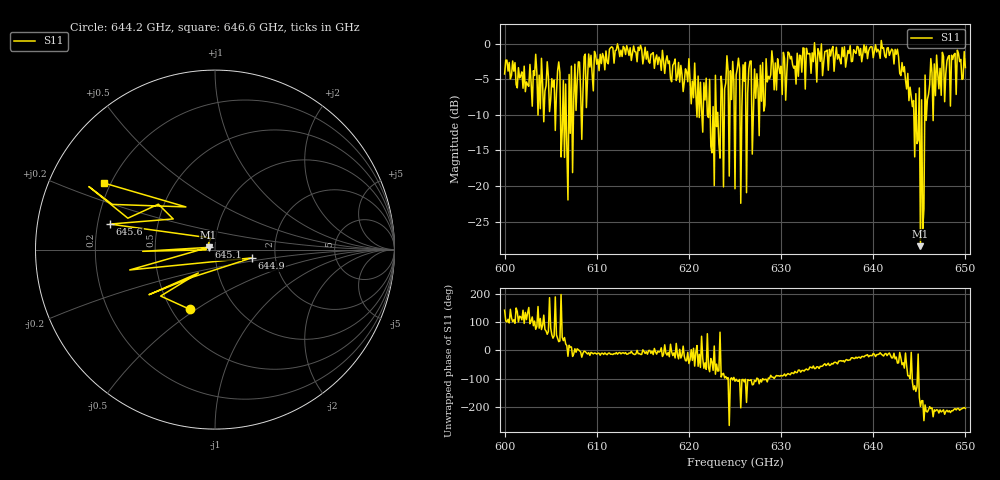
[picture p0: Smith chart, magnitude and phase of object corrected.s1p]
!Created with skrf (http://scikit-rf.org).
# GHz S MA R 50.0
!freq magS11 angS11
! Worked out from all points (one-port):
!   401 points, 600 GHz to 650 GHz, reference 50 ohm
!   lowest |S11| = -28.5 dB at 645.1 GHz (marker M1), VSWR 1.08, Z = 46.5 + j1.16 ohm
!   |S11| at or under -10 dB: 606.0625 GHz to 606.2901 GHz (227.6 MHz wide, 0.0375 % of centre); 606.687 GHz to 606.9598 GHz (272.8 MHz wide, 0.045 % of centre); 622 GHz to 622.1339 GHz (134 MHz wide, 0.0215 % of centre) (the widest 3 of 30)
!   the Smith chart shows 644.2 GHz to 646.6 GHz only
!   S11 on the Smith chart (normalised r, x): 644.2 GHz: 0.62, -0.47; 644.9 GHz: 1.51, -0.15; 645.1 GHz: 0.93, +0.02; 645.6 GHz: 0.25, +0.11; 646.6 GHz: 0.17, +0.27
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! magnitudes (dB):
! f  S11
! 600 GHz  -4.3
! 605.8 GHz  -3.8
! 606.2 GHz  -12.3
! 607.1 GHz  -12.6
! 607.9 GHz  -5.2
! 608.6 GHz  -1.8
! 609.2 GHz  -3.3
! 612.5 GHz  -1.8
! 618.8 GHz  -4.6
! 622 GHz  -10.0
! 622.5 GHz  -15.3
! 623.5 GHz  -4.6
! 624.2 GHz  -3.8
! 625 GHz  -20.4
! 627.1 GHz  -3.6
! 628.9 GHz  -4.4
! 631.2 GHz  -3.0
! 637.5 GHz  -0.3
! 641.9 GHz  -1.2
! 643.8 GHz  -4.2
! 644.2 GHz  -8.8
! 644.9 GHz  -13.5
! 645.1 GHz  -28.5
! 645.4 GHz  -26.0
! 645.6 GHz  -4.4
! 645.9 GHz  -7.9
! 646.6 GHz  -2.8
! 650 GHz  -3.4
